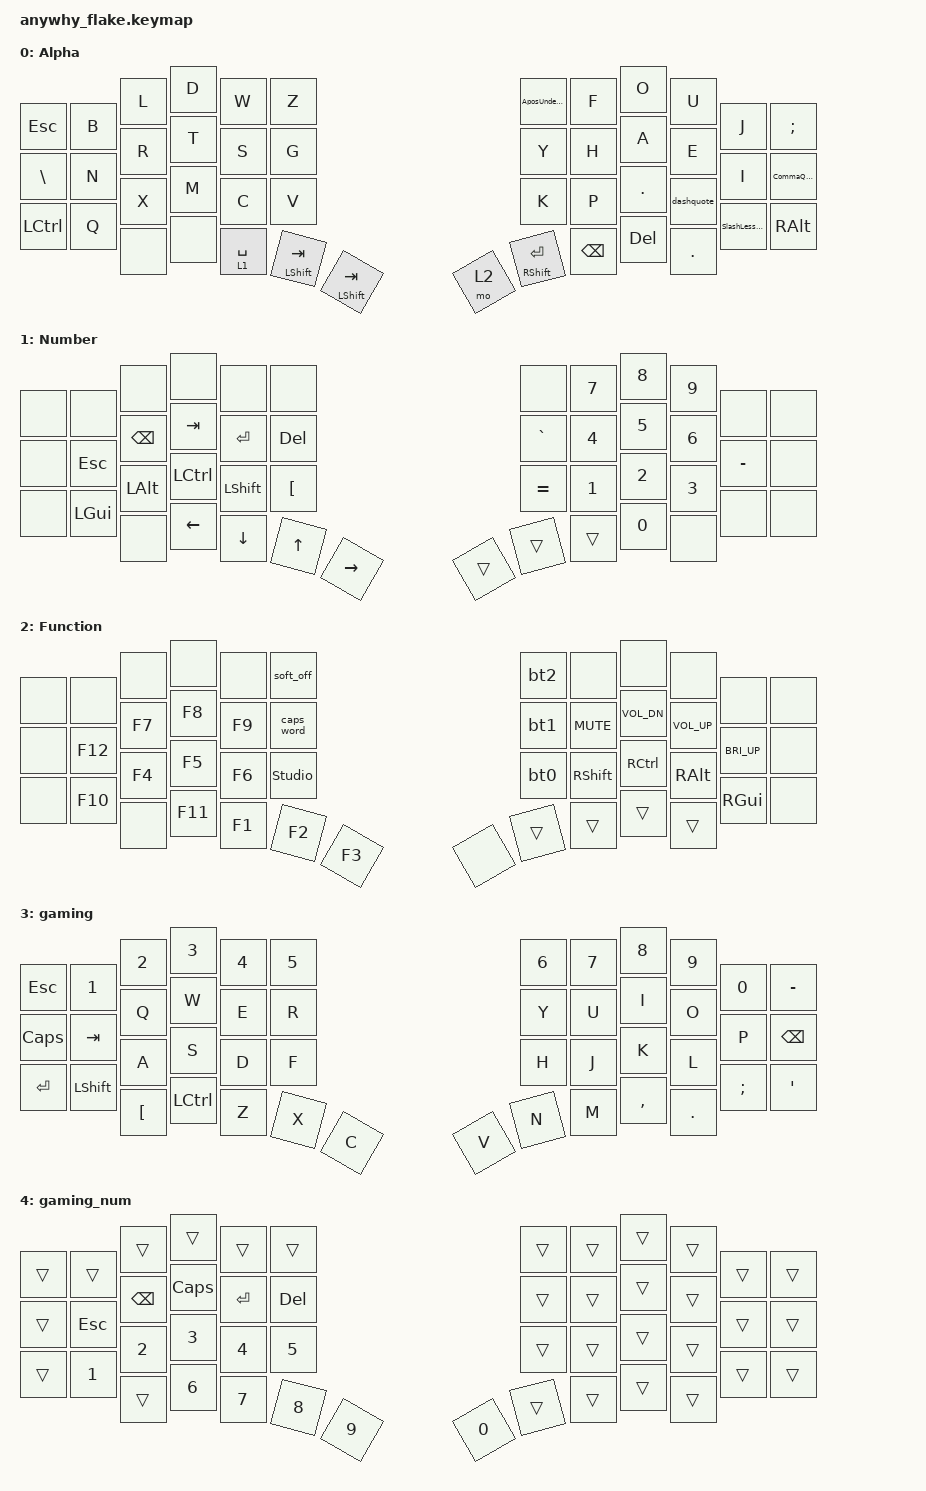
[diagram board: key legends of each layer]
#include <behaviors.dtsi>
#include <dt-bindings/zmk/bt.h>
#include <dt-bindings/zmk/keys.h>

/ {
    combos {
        compatible = "zmk,combos";

        bt_sel_3 {
            bindings = <&bt3>;
            key-positions = <42 30>;
            layers = <2>;
        };

        bt_sel_4 {
            bindings = <&bt4>;
            key-positions = <30 18>;
            layers = <2>;
        };

        enter_gaming {
            bindings = <&sl 3>;
            key-positions = <26 15 28>;
            layers = <2>;
        };

        leave_gaming {
            bindings = <&sl 0>;
            key-positions = <31 20 33>;
            layers = <4>;
        };

        grave {
            bindings = <&kp GRAVE>;
            key-positions = <13 25>;
            layers = <3>;
        };
    };

    macros {
        bt_clr_0: bt_clr_0 {
            compatible = "zmk,behavior-macro";
            #binding-cells = <0>;
            bindings = <&bt BT_SEL 0 &bt BT_CLR>;
            label = "BT_CLR_0";
        };

        bt_clr_1: bt_clr_1 {
            compatible = "zmk,behavior-macro";
            #binding-cells = <0>;
            bindings = <&bt BT_SEL 1 &bt BT_CLR>;
            label = "BT_CLR_1";
        };

        bt_clr_2: bt_clr_2 {
            compatible = "zmk,behavior-macro";
            #binding-cells = <0>;
            bindings = <&bt BT_SEL 2 &bt BT_CLR>;
            label = "BT_CLR_2";
        };

        bt_clr_3: bt_clr_3 {
            compatible = "zmk,behavior-macro";
            #binding-cells = <0>;
            bindings = <&bt BT_SEL 3 &bt BT_CLR>;
            label = "BT_CLR_3";
        };

        bt_clr_4: bt_clr_4 {
            compatible = "zmk,behavior-macro";
            #binding-cells = <0>;
            bindings = <&bt BT_SEL 4 &bt BT_CLR>;
            label = "BT_CLR_4";
        };
    };

    behaviors {
        bt0: bt0 {
            compatible = "zmk,behavior-mod-morph";
            label = "BT0";
            bindings = <&bt BT_SEL 0>, <&bt_clr_0>;

            #binding-cells = <0>;
            mods = <(MOD_LSFT|MOD_RSFT)>;
        };

        bt1: bt1 {
            compatible = "zmk,behavior-mod-morph";
            label = "BT1";
            bindings = <&bt BT_SEL 1>, <&bt_clr_1>;

            #binding-cells = <0>;
            mods = <(MOD_LSFT|MOD_RSFT)>;
        };

        bt2: bt2 {
            compatible = "zmk,behavior-mod-morph";
            label = "BT2";
            bindings = <&bt BT_SEL 2>, <&bt_clr_2>;

            #binding-cells = <0>;
            mods = <(MOD_LSFT|MOD_RSFT)>;
        };

        bt3: bt3 {
            compatible = "zmk,behavior-mod-morph";
            label = "BT3";
            bindings = <&bt BT_SEL 3>, <&bt_clr_3>;

            #binding-cells = <0>;
            mods = <(MOD_LSFT|MOD_RSFT)>;
        };

        bt4: bt4 {
            compatible = "zmk,behavior-mod-morph";
            label = "BT4";
            bindings = <&bt BT_SEL 4>, <&bt_clr_4>;

            #binding-cells = <0>;
            mods = <(MOD_LSFT|MOD_RSFT)>;
        };

        AposUnderscore: AposUnderscore {
            compatible = "zmk,behavior-mod-morph";
            label = "APOSUNDERSCORE";
            bindings = <&kp SQT>, <&kp UNDER>;

            #binding-cells = <0>;
            mods = <(MOD_LSFT|MOD_RSFT)>;
        };

        CommaQuestion: CommaQuestion {
            compatible = "zmk,behavior-mod-morph";
            label = "COMMAQUESTION";
            bindings = <&kp KP_COMMA>, <&kp QUESTION>;

            #binding-cells = <0>;
            mods = <(MOD_LSFT|MOD_RSFT)>;
        };

        dashquote: dashquote {
            compatible = "zmk,behavior-mod-morph";
            label = "DASHQUOTE";
            bindings = <&kp KP_MINUS>, <&kp DOUBLE_QUOTES>;

            #binding-cells = <0>;
            mods = <(MOD_LSFT|MOD_RSFT)>;
        };

        SlashLessThan: SlashLessThan {
            compatible = "zmk,behavior-mod-morph";
            label = "SLASHLESSTHAN";
            bindings = <&kp KP_SLASH>, <&kp LESS_THAN>;

            #binding-cells = <0>;
            mods = <(MOD_LSFT|MOD_RSFT)>;
        };

        SpaceNum: SpaceNum {
            compatible = "zmk,behavior-hold-tap";
            label = "SPACENUM";
            bindings = <&lt>, <&kp>;

            #binding-cells = <2>;
            tapping-term-ms = <200>;
        };
    };

    keymap {
        compatible = "zmk,keymap";

        Alpha {
            bindings = <
&kp ESC           &kp B  &kp L  &kp D        &kp W               &kp Z                 &AposUnderscore  &kp F                   &kp O          &kp U       &kp J           &kp SEMICOLON
&kp BACKSLASH     &kp N  &kp R  &kp T        &kp S               &kp G                 &kp Y            &kp H                   &kp A          &kp E       &kp I           &CommaQuestion
&kp LEFT_CONTROL  &kp Q  &kp X  &kp M        &kp C               &kp V                 &kp K            &kp P                   &kp PERIOD     &dashquote  &SlashLessThan  &kp RIGHT_ALT
                  &none  &none  &lt 1 SPACE  &mt LEFT_SHIFT TAB  &mt LEFT_SHIFT TAB    &mo 2            &mt RIGHT_SHIFT RETURN  &kp BACKSPACE  &kp DELETE  &kp DOT
            >;
        };

        Number {
            bindings = <
&none  &none     &none          &none      &none      &none        &none      &kp N7        &kp N8  &kp N9  &none      &none
&none  &kp ESC   &kp BACKSPACE  &kp TAB    &kp ENTER  &kp DEL      &kp GRAVE  &kp N4        &kp N5  &kp N6  &kp MINUS  &none
&none  &kp LGUI  &kp LALT       &kp LCTRL  &kp LSHFT  &kp LBKT     &kp EQUAL  &kp NUMBER_1  &kp N2  &kp N3  &none      &none
       &none     &kp LEFT       &kp DOWN   &kp UP     &kp RIGHT    &trans     &trans        &trans  &kp N0  &none
            >;
        };

        Function {
            bindings = <
&none  &none    &none    &none   &none   &soft_off         &bt2   &none       &none         &none         &none         &none
&none  &kp F12  &kp F7   &kp F8  &kp F9  &caps_word        &bt1   &kp C_MUTE  &kp C_VOL_DN  &kp C_VOL_UP  &kp C_BRI_UP  &none
&none  &kp F10  &kp F4   &kp F5  &kp F6  &studio_unlock    &bt0   &kp RSHFT   &kp RCTRL     &kp RALT      &kp RGUI      &none
       &none    &kp F11  &kp F1  &kp F2  &kp F3            &none  &trans      &trans        &trans        &trans
            >;
        };

        gaming {
            bindings = <
&kp ESC    &kp N1     &kp N2     &kp N3  &kp N4  &kp N5    &kp N6  &kp N7  &kp N8  &kp N9     &kp N0    &kp MINUS
&kp CAPS   &kp TAB    &kp Q      &kp W   &kp E   &kp R     &kp Y   &kp U   &kp I   &kp O      &kp P     &kp BSPC
&kp ENTER  &kp LSHFT  &kp A      &kp S   &kp D   &kp F     &kp H   &kp J   &kp K   &kp L      &kp SEMI  &kp APOS
           &kp LBKT   &kp LCTRL  &kp Z   &kp X   &kp C     &kp V   &kp N   &kp M   &kp COMMA  &kp DOT
            >;
        };

        gaming_num {
            bindings = <
&trans  &trans   &trans    &trans    &trans     &trans     &trans  &trans  &trans  &trans  &trans  &trans
&trans  &kp ESC  &kp BSPC  &kp CAPS  &kp ENTER  &kp DEL    &trans  &trans  &trans  &trans  &trans  &trans
&trans  &kp N1   &kp N2    &kp N3    &kp N4     &kp N5     &trans  &trans  &trans  &trans  &trans  &trans
        &trans   &kp N6    &kp N7    &kp N8     &kp N9     &kp N0  &trans  &trans  &trans  &trans
            >;
        };
    };
};
